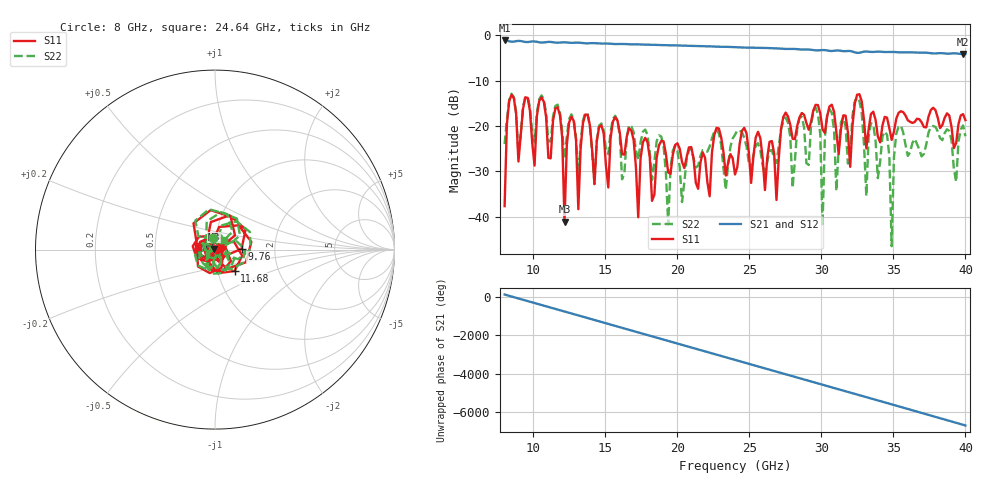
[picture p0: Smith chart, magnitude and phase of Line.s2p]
!Agilent Technologies,N5227A,US51270464,A.10.00.00
!Agilent N5227A: A.10.00.00
!Date: Thursday, July 23, 2020 14:51:03
!Correction: S11(Full 2 Port(1,2))
!S21(Full 2 Port(1,2))
!S12(Full 2 Port(1,2))
!S22(Full 2 Port(1,2))
!S2P File: Measurements: S11, S21, S12, S22:
# Hz S  RI  R 50
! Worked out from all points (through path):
!   201 points, 8 GHz to 40 GHz, reference 50 ohm
!   highest |S21| = -1.12 dB at 8 GHz (marker M1); lowest = -4.1 dB at 39.84 GHz (marker M2)
!   lowest |S11| = -41.1 dB at 12.16 GHz (marker M3), VSWR 1.02, Z = 49.2 + j0.373 ohm
!   |S11| at or under -10 dB: start of sweep to end of sweep
!   |S22| runs from -46.5 to -12.9 dB; largest |S21 - S12| = 0.0005
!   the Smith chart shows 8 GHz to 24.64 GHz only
!   S11 on the Smith chart (normalised r, x): 8 GHz: 1.03, +0.00; 9.76 GHz: 1.35, +0.01; 11.68 GHz: 1.21, -0.29; 24.64 GHz: 0.83, +0.03
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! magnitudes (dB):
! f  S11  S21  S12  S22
! 8 GHz  -37.7  -1.1  -1.1  -24.0
! 8.32 GHz  -14.5  -1.3  -1.3  -14.2
! 9.76 GHz  -16.6  -1.4  -1.4  -15.9
! 11.68 GHz  -15.8  -1.6  -1.6  -15.3
! 12.16 GHz  -41.1  -1.5  -1.5  -27.3
! 13.44 GHz  -19.4  -1.7  -1.7  -18.8
! 17.28 GHz  -40.1  -2.0  -2.0  -27.5
! 18.72 GHz  -24.3  -2.1  -2.1  -22.0
! 19.36 GHz  -30.2  -2.2  -2.2  -41.7
! 24 GHz  -30.7  -2.6  -2.6  -21.9
! 24.64 GHz  -20.4  -2.7  -2.7  -22.6
! 26.88 GHz  -36.3  -2.8  -2.8  -28.1
! 29.44 GHz  -16.5  -3.2  -3.2  -16.6
! 30.08 GHz  -20.7  -3.2  -3.2  -42.0
! 30.56 GHz  -15.7  -3.4  -3.4  -16.3
! 31.04 GHz  -21.3  -3.3  -3.3  -34.3
! 32.48 GHz  -13.1  -3.9  -3.9  -13.7
! 34.72 GHz  -20.5  -3.6  -3.6  -26.8
! 34.88 GHz  -23.0  -3.6  -3.6  -46.5
! 35.36 GHz  -17.1  -3.7  -3.7  -20.2
! 39.84 GHz  -17.4  -4.1  -4.1  -19.9
! 40 GHz  -18.7  -4.1  -4.1  -22.2
